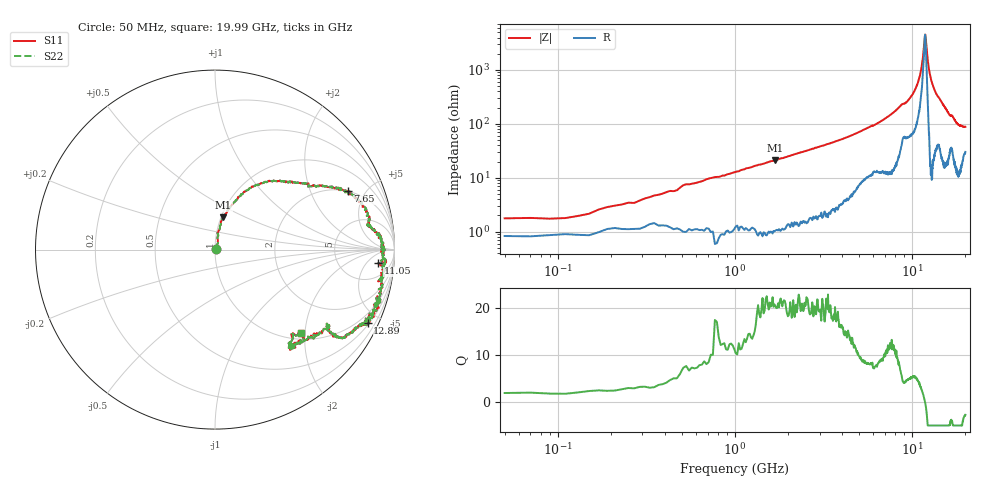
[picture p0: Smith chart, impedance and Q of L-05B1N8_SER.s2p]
! Data Taken on a HP 8720C VNA using a series-through fixture with TRL* de-embedding
#	mhz	s	ma	r	50
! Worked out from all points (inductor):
!   998 points, 50 MHz to 19.99 GHz, reference 50 ohm
!   read as one part in series: L = 2.03 nH near 290 MHz
!   highest Q = 21 at 1.69 GHz (marker M1), where L = 1.99 nH
!   self-resonance near 11.83 GHz
!   S11 on the Smith chart (normalised r, x): 50 MHz: 1.01, +0.01; 7.65 GHz: 2.00, +3.77; 11.05 GHz: 12, -11; 12.89 GHz: 0.58, -4.32; 19.99 GHz: 1.14, -1.91
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50  0.00738 34.2  0.9895 -1.5  0.9895 -1.5  0.00738 34.2
170  0.02119 60.9  0.9902 -1.6  0.9902 -1.6  0.02119 60.9
270  0.03049 66.2  0.9887 -2.0  0.9887 -2.0  0.03049 66.2
570  0.06818 78.7  0.9845 -4.8  0.9845 -4.8  0.06818 78.7
1150  0.1311 78.1  0.9745 -9.2  0.9745 -9.2  0.1311 78.1
1690  0.1861 75.7  0.966 -13.0  0.966 -13.0  0.1861 75.7
3390  0.3639 62.5  0.9073 -24.7  0.9073 -24.7  0.3639 62.5
4570  0.4885 51.9  0.8458 -33.0  0.8458 -33.0  0.4885 51.9
6710  0.7091 29.8  0.6718 -52.3  0.6718 -52.3  0.7091 29.8
7650  0.8092 23.6  0.5581 -61.2  0.5581 -61.2  0.8092 23.6
8870  0.8631 9.6  0.3802 -66.6  0.3802 -66.6  0.8631 9.6
10030  0.9217 5.0  0.2688 -73.8  0.2688 -73.8  0.9217 5.0
11050  0.9126 -4.8  0.1199 -79.1  0.1199 -79.1  0.9126 -4.8
11410  0.9432 -10.6  0.0692 -75.3  0.0692 -75.3  0.9432 -10.6
11850  0.9639 -16.9  0.02071 -8.9  0.02071 -8.9  0.9639 -16.9
12350  0.9567 -21.8  0.07449 62.6  0.07449 62.6  0.9567 -21.8
12890  0.9433 -25.6  0.1486 64.0  0.1486 64.0  0.9433 -25.6
13350  0.938 -26.3  0.2067 60.7  0.2067 60.7  0.938 -26.3
15290  0.865 -34.9  0.4021 51.2  0.4021 51.2  0.865 -34.9
16670  0.7478 -33.5  0.5138 42.1  0.5138 42.1  0.7478 -33.5
18450  0.6776 -51.2  0.6487 32.3  0.6487 32.3  0.6776 -51.2
19990  0.6667 -44.0  0.6778 24.2  0.6778 24.2  0.6667 -44.0
